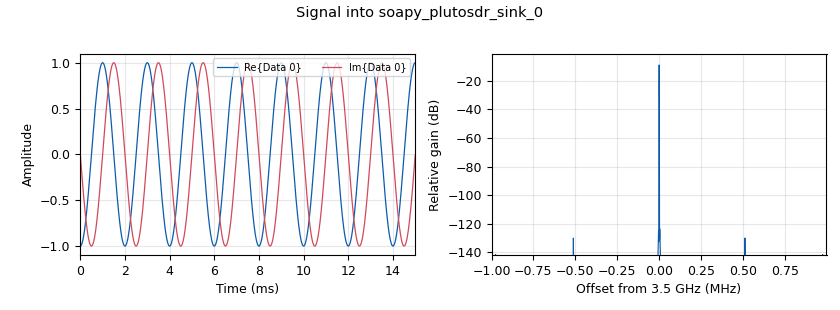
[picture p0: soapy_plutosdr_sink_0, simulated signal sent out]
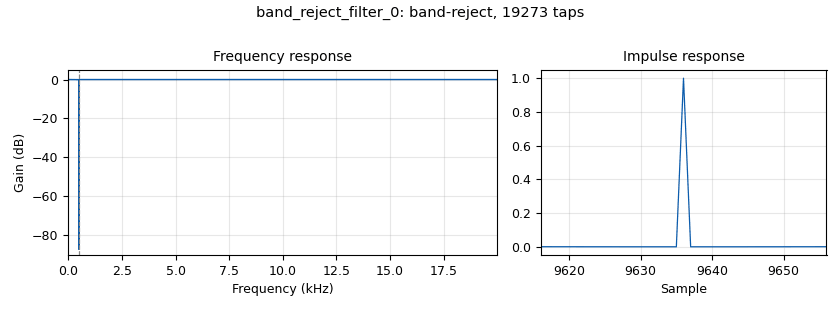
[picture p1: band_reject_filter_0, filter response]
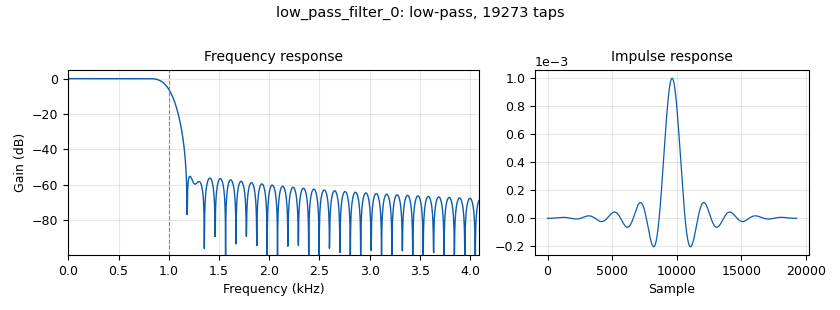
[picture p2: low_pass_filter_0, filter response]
options:
  parameters:
    generate_options: qt_gui
    id: pluto_5G5_test
    output_language: python
    title: Pluto 5.5 GHz Test
  states: {}

blocks:
- name: doppler_gain
  id: variable_qtgui_range
  parameters:
    start: '0'
    step: '1'
    stop: '100'
    value: '40'
  states: {}
- name: rx_deci
  id: variable
  parameters:
    value: '50'
  states: {}
- name: rx_gain
  id: variable_qtgui_range
  parameters:
    gui_hint: 0, 1, 1, 1
    start: '0'
    step: '1'
    stop: '73'
    value: '40'
  states: {state: disabled}
- name: samp_rate
  id: variable
  parameters:
    value: '2000000'
  states: {}
- name: tone_freq
  id: variable
  parameters:
    value: '500'
  states: {}
- name: tx_gain
  id: variable_qtgui_range
  parameters:
    gui_hint: 0, 0, 1, 1
    start: '0'
    step: '1'
    stop: '89'
    value: '40'
  states: {}
- name: analog_sig_source_x_0
  id: analog_sig_source_x
  parameters:
    amp: '1'
    freq: '500'
    offset: '0'
    phase: '0'
    samp_rate: samp_rate
    type: complex
    waveform: analog.GR_COS_WAVE
  states: {}
- name: band_reject_filter_0
  id: band_reject_filter
  parameters:
    decim: '1'
    gain: '1'
    high_cutoff_freq: tone_freq+5
    low_cutoff_freq: tone_freq-5
    samp_rate: samp_rate/50
    type: fir_filter_ccf
    width: '5'
    win: window.WIN_HAMMING
  states: {}
- name: blocks_complex_to_mag_0
  id: blocks_complex_to_mag
  parameters: {}
  states: {}
- name: blocks_file_sink_0
  id: blocks_file_sink
  parameters:
    file: C:\Users\wmh69\Downloads\mag
    type: float
  states: {}
- name: blocks_multiply_const_vxx_0
  id: blocks_multiply_const_vxx
  parameters:
    const: doppler_gain
    type: complex
  states: {}
- name: blocks_stream_to_vector_0
  id: blocks_stream_to_vector
  parameters:
    num_items: '32768'
    type: complex
  states: {}
- name: blocks_vector_to_stream_0
  id: blocks_vector_to_stream
  parameters:
    num_items: '32768'
    type: complex
  states: {}
- name: epy_block_0
  id: epy_block
  parameters:
    _source_code: |-
      """
      Embedded Python Blocks:

      Each time this file is saved, GRC will instantiate the first class it finds
      to get ports and parameters of your block. The arguments to __init__  will
      be the parameters. All of them are required to have default values!
      """

      import numpy as np
      from gnuradio import gr


      class doppler_velocity_calc(gr.sync_block):
          """
          A custom GNU Radio block to calculate velocity from a simulated frequency shift.

          Attributes:
              transmitted_freq (float): The frequency of the transmitted signal in Hz.
              speed_of_light (float): The speed of light in meters per second, typically 3e8.
          """
          def __init__(self, transmitted_freq=500, speed_of_light=3e8, samp_rate=2e6, fft_size = 32768):
              gr.sync_block.__init__(self, name="doppler_velocity_calc", in_sig=[np.float32], out_sig=[np.float32])
              self.transmitted_freq = transmitted_freq
              self.speed_of_light = speed_of_light
              self.samp_rate = samp_rate
              self.fft_size = fft_size

          def work(self, input_items, output_items):
              in0 = input_items[0]  
              out = output_items[0]
              input_max = np.argmax(in0)
              frequency_bin_width = self.samp_rate / self.fft_size
              f_0 = input_max * frequency_bin_width
              delta_f = f_0 - self.transmitted_freq

              velocity = (delta_f * self.speed_of_light) / self.transmitted_freq

              out[:] = velocity
              print(f_0)
              return len(output_items[0])
    fft_size: '32768'
    samp_rate: '2000000.0'
    speed_of_light: '300000000.0'
    transmitted_freq: '500'
  states: {}
- name: fft_vxx_0
  id: fft_vxx
  parameters:
    fft_size: '32768'
    forward: 'True'
    shift: 'True'
    type: complex
    window: window.blackmanharris(32768)
  states: {}
- name: low_pass_filter_0
  id: low_pass_filter
  parameters:
    cutoff_freq: tone_freq*2
    decim: '50'
    gain: '1'
    samp_rate: samp_rate
    type: fir_filter_ccf
    width: '250'
    win: window.WIN_HAMMING
  states: {}
- name: qtgui_freq_sink_x_0_0_0
  id: qtgui_freq_sink_x
  parameters:
    bw: '40000'
    ctrlpanel: 'True'
    fc: '0'
    fftsize: '32768'
    type: complex
  states: {}
- name: qtgui_number_sink_0
  id: qtgui_number_sink
  parameters:
    graph_type: qtgui.NUM_GRAPH_HORIZ
    max: '10'
    min: '-10'
    type: float
  states: {}
- name: qtgui_time_sink_x_0
  id: qtgui_time_sink_x
  parameters:
    size: '32768'
    srate: samp_rate
    type: float
  states: {}
- name: soapy_plutosdr_sink_0
  id: soapy_plutosdr_sink
  parameters:
    bandwidth: '20000000'
    center_freq: 3.5e9
    gain: tx_gain
    samp_rate: samp_rate
    type: fc32
  states: {}
- name: soapy_plutosdr_source_0
  id: soapy_plutosdr_source
  parameters:
    center_freq: 3.5e9
    gain: '64'
    samp_rate: samp_rate
    type: fc32
  states: {}

connections:
- [analog_sig_source_x_0, '0', soapy_plutosdr_sink_0, '0']
- [band_reject_filter_0, '0', blocks_multiply_const_vxx_0, '0']
- [blocks_complex_to_mag_0, '0', blocks_file_sink_0, '0']
- [blocks_complex_to_mag_0, '0', epy_block_0, '0']
- [blocks_multiply_const_vxx_0, '0', blocks_stream_to_vector_0, '0']
- [blocks_multiply_const_vxx_0, '0', qtgui_freq_sink_x_0_0_0, '0']
- [blocks_stream_to_vector_0, '0', fft_vxx_0, '0']
- [blocks_vector_to_stream_0, '0', blocks_complex_to_mag_0, '0']
- [epy_block_0, '0', qtgui_number_sink_0, '0']
- [epy_block_0, '0', qtgui_time_sink_x_0, '0']
- [fft_vxx_0, '0', blocks_vector_to_stream_0, '0']
- [low_pass_filter_0, '0', band_reject_filter_0, '0']
- [soapy_plutosdr_source_0, '0', low_pass_filter_0, '0']

metadata:
  file_format: 1
  grc_version: 3.10.9.2
